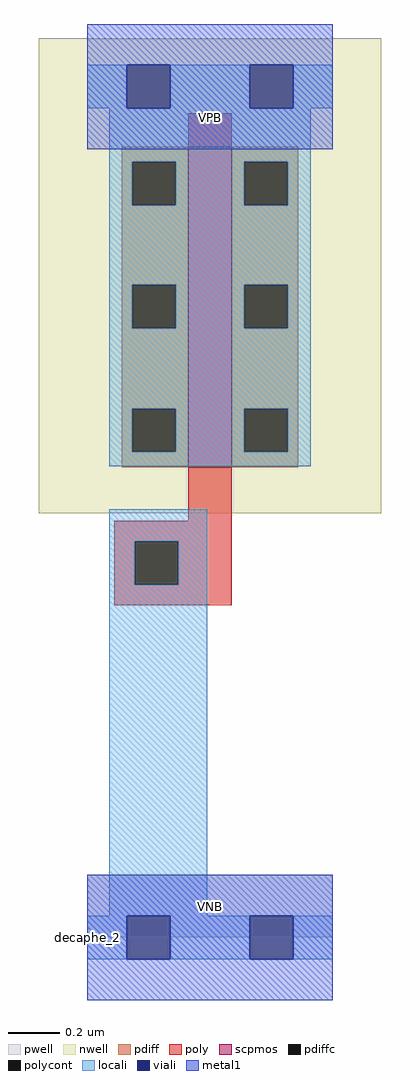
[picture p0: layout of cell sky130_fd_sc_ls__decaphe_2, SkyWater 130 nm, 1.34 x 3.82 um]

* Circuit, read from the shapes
.subckt sky130_fd_sc_ls__decaphe_2 VGND VNB VPB VPWR
XM1 VPWR VGND VPWR VPB sky130_fd_pr__pfet_01v8 w=1.255 l=0.17
.ends

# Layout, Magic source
magic
tech sky130A
magscale 1 2
<< nwell >>
rect -38 332 230 704
<< pwell >>
rect 0 0 192 49
<< scpmos >>
rect 79 368 113 619
<< pdiff >>
rect 27 607 79 619
rect 27 573 35 607
rect 69 573 79 607
rect 27 511 79 573
rect 27 477 35 511
rect 69 477 79 511
rect 27 414 79 477
rect 27 380 35 414
rect 69 380 79 414
rect 27 368 79 380
rect 113 607 165 619
rect 113 573 123 607
rect 157 573 165 607
rect 113 511 165 573
rect 113 477 123 511
rect 157 477 165 511
rect 113 414 165 477
rect 113 380 123 414
rect 157 380 165 414
rect 113 368 165 380
<< pdiffc >>
rect 35 573 69 607
rect 35 477 69 511
rect 35 380 69 414
rect 123 573 157 607
rect 123 477 157 511
rect 123 380 157 414
<< poly >>
rect 79 619 113 645
rect 79 326 113 368
rect 21 310 113 326
rect 21 276 37 310
rect 71 276 113 310
rect 21 260 113 276
<< polycont >>
rect 37 276 71 310
<< locali >>
rect 0 649 31 683
rect 65 649 127 683
rect 161 649 192 683
rect 17 607 175 649
rect 17 573 35 607
rect 69 573 123 607
rect 157 573 175 607
rect 17 511 175 573
rect 17 477 35 511
rect 69 477 123 511
rect 157 477 175 511
rect 17 414 175 477
rect 17 380 35 414
rect 69 380 123 414
rect 157 380 175 414
rect 17 369 175 380
rect 17 310 94 335
rect 17 276 37 310
rect 71 276 94 310
rect 17 17 94 276
rect 0 -17 31 17
rect 65 -17 127 17
rect 161 -17 192 17
<< viali >>
rect 31 649 65 683
rect 127 649 161 683
rect 31 -17 65 17
rect 127 -17 161 17
<< metal1 >>
rect 0 683 192 715
rect 0 649 31 683
rect 65 649 127 683
rect 161 649 192 683
rect 0 617 192 649
rect 0 17 192 49
rect 0 -17 31 17
rect 65 -17 127 17
rect 161 -17 192 17
rect 0 -49 192 -17
<< labels >>
flabel pwell s 0 0 192 49 0 FreeSans 200 0 0 0 VNB
port 2 nsew ground bidirectional
flabel nwell s 0 617 192 666 0 FreeSans 200 0 0 0 VPB
port 3 nsew power bidirectional
rlabel comment s 0 0 0 0 4 decaphe_2
flabel metal1 s 0 0 192 49 0 FreeSans 200 0 0 0 VGND
port 1 nsew ground bidirectional abutment
flabel metal1 s 0 617 192 666 0 FreeSans 200 0 0 0 VPWR
port 4 nsew power bidirectional abutment
<< properties >>
string LEFsite unit
string LEFclass CORE
string FIXED_BBOX 0 0 192 666
string GDS_FILE $PDKPATH/libs.ref/sky130_fd_sc_ls/gds/sky130_fd_sc_ls.gds
string LEFsymmetry X Y R90
string GDS_END 3442364
string GDS_START 3440220
<< end >>
